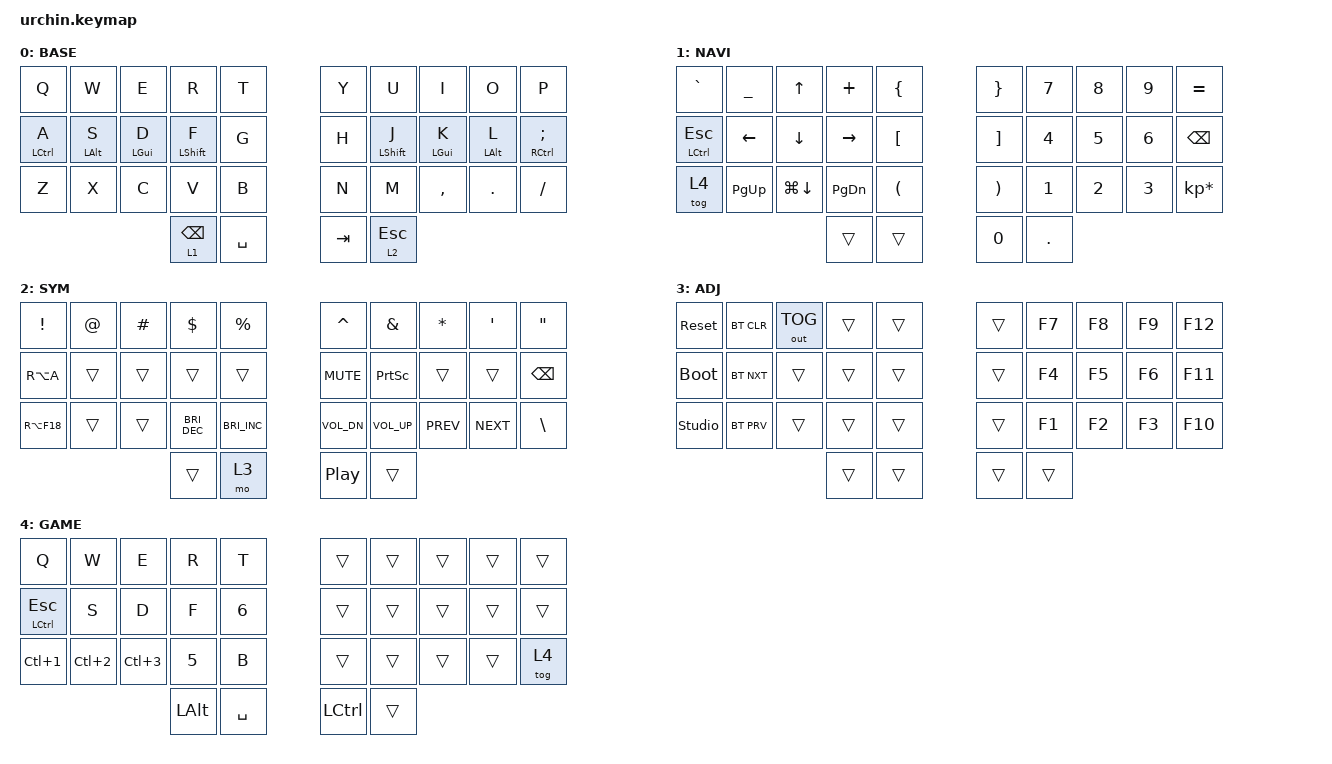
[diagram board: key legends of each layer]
/*
 * Ported from zmk-config-totem. TOTEM is 38 keys, Urchin is 34.
 * Dropped: the two outer bottom-row keys (ctrl/esc, ctrl/') and the outer
 * left/right thumb keys (bspc, del). Totem thumb order is
 * outer -> inner left: bspc, [nav] tilde, space | inner -> outer right:
 * tab, [sym] grave, delete, so the 4 surviving thumbs are
 * nav/tilde, space | sym/grave, tab.
 *
 * Deliberately left unmapped for now (totem had them on the dropped keys):
 * BSPC, DEL, ESC, SQT.
 */

#include <behaviors.dtsi>
#include <dt-bindings/zmk/bt.h>
#include <dt-bindings/zmk/keys.h>
#include <dt-bindings/zmk/outputs.h>

#define BASE   0
#define NAV    1
#define SYM    2
#define ADJ    3
#define GAMING 4

&mt {
    quick-tap-ms = <150>;
    global-quick-tap;
    flavor = "tap-preferred";
    tapping-term-ms = <170>;
};

&lt { quick-tap-ms = <175>; };

/ {
    combos {
        compatible = "zmk,combos";

        // totem used the extra bottom-right key (dropped); FSLH is its neighbour

        dash {
            bindings = <&kp MINUS>;
            key-positions = <19 18>;
            timeout-ms = <30>;
            require-prior-idle-ms = <80>;
        };

        enter_right_combo {
            bindings = <&kp ENTER>;
            key-positions = <16 18 17>;
            timeout-ms = <70>;
            require-prior-idle-ms = <100>;
        };

        double_quote {
            bindings = <&kp DOUBLE_QUOTES>;
            key-positions = <8 9>;
            timeout-ms = <30>;
            require-prior-idle-ms = <80>;
        };

        single_quote {
            bindings = <&kp SINGLE_QUOTE>;
            key-positions = <8 7>;
            require-prior-idle-ms = <80>;
            timeout-ms = <30>;
        };

        tilde {
            bindings = <&kp TILDE>;
            key-positions = <0 1>;
            layers = <0>;
            timeout-ms = <25>;
            require-prior-idle-ms = <80>;
        };

        tab {
            bindings = <&kp TAB>;
            key-positions = <20 11>;
            timeout-ms = <30>;
            require-prior-idle-ms = <80>;
            layers = <0 4>;
        };

        escape {
            bindings = <&kp ESC>;
            key-positions = <11 10>;
            timeout-ms = <30>;
            require-prior-idle-ms = <80>;
            layers = <0 4>;
        };

        copy {
            bindings = <&kp LG(C)>;
            key-positions = <21 22>;
            timeout-ms = <30>;
            require-prior-idle-ms = <80>;
            layers = <0>;
        };

        paste {
            bindings = <&kp LG(V)>;
            key-positions = <22 23>;
            timeout-ms = <30>;
            require-prior-idle-ms = <80>;
            layers = <0>;
        };

        at {
            bindings = <&kp AT_SIGN>;
            key-positions = <1 11>;
            timeout-ms = <30>;
            require-prior-idle-ms = <80>;
            layers = <0>;
        };

        hash {
            bindings = <&kp HASH>;
            key-positions = <2 12>;
            timeout-ms = <30>;
            require-prior-idle-ms = <80>;
            layers = <0>;
        };

        dollar {
            bindings = <&kp DLLR>;
            key-positions = <3 13>;
            timeout-ms = <30>;
            require-prior-idle-ms = <80>;
            layers = <0>;
        };

        percent {
            bindings = <&kp PRCNT>;
            key-positions = <4 14>;
            timeout-ms = <30>;
            require-prior-idle-ms = <80>;
            layers = <0>;
        };

        tilde_combo {
            bindings = <&kp TILDE>;
            key-positions = <24 14>;
            timeout-ms = <30>;
            require-prior-idle-ms = <80>;
            layers = <0>;
        };

        slash_combo {
            bindings = <&kp BACKSLASH>;
            key-positions = <12 22>;
            timeout-ms = <30>;
            require-prior-idle-ms = <80>;
            layers = <0>;
        };

        equal_combo {
            bindings = <&kp EQUAL>;
            key-positions = <13 23>;
            timeout-ms = <30>;
            require-prior-idle-ms = <80>;
            layers = <0>;
        };

        backtick_combo {
            bindings = <&kp GRAVE>;
            key-positions = <21 11>;
            timeout-ms = <30>;
            require-prior-idle-ms = <80>;
            layers = <0>;
        };
    };

    behaviors {
        mt_left: mt_left {
            compatible = "zmk,behavior-hold-tap";
            label = "MT_LEFT";
            bindings = <&kp>, <&kp>;

            #binding-cells = <2>;
            tapping-term-ms = <280>;
            quick-tap-ms = <175>;
            flavor = "balanced";
            hold-trigger-key-positions = <5 6 7 8 9 15 16 17 18 19 26 27 28 29 30 31 32 33>;
            require-prior-idle-ms = <110>;
            hold-trigger-on-release;
        };

        mt_right: mt_right {
            compatible = "zmk,behavior-hold-tap";
            label = "MT_RIGHT";
            bindings = <&kp>, <&kp>;

            #binding-cells = <2>;
            tapping-term-ms = <280>;
            quick-tap-ms = <175>;
            flavor = "balanced";
            require-prior-idle-ms = <110>;
            hold-trigger-on-release;
            hold-trigger-key-positions = <0 1 2 3 4 10 11 12 13 14 20 21 22 23 24 25 32 33 31 30>;
        };

        mt_shift_left: mt_shift_left {
            compatible = "zmk,behavior-hold-tap";
            label = "MT_SHIFT_LEFT";
            bindings = <&kp>, <&kp>;

            #binding-cells = <2>;
            tapping-term-ms = <280>;
            quick-tap-ms = <175>;
            flavor = "balanced";
            hold-trigger-key-positions = <5 6 7 8 9 15 16 17 18 19 26 27 28 29 30 31 32 33 25>;
            require-prior-idle-ms = <30>;
        };

        mt_shift_right: mt_shift_right {
            compatible = "zmk,behavior-hold-tap";
            label = "MT_SHIFT_RIGHT";
            bindings = <&kp>, <&kp>;

            #binding-cells = <2>;
            tapping-term-ms = <280>;
            quick-tap-ms = <175>;
            flavor = "balanced";
            hold-trigger-key-positions = <0 1 2 3 4 10 11 12 13 14 20 21 22 23 24 32 33 31 30>;
            require-prior-idle-ms = <30>;
        };
    };

    keymap {
        compatible = "zmk,keymap";

        base_layer {
            label = "BASE";
            bindings = <
&kp Q             &kp W                  &kp E            &kp R                    &kp T      &kp Y    &kp U                     &kp I             &kp O                   &kp P
&mt_left LCTRL A  &mt_shift_left LALT S  &mt_left LGUI D  &mt_shift_left LSHIFT F  &kp G      &kp H    &mt_shift_right LSHIFT J  &mt_right LGUI K  &mt_shift_right LALT L  &mt_right RCTRL SEMICOLON
&kp Z             &kp X                  &kp C            &kp V                    &kp B      &kp N    &kp M                     &kp COMMA         &kp DOT                 &kp FSLH
                                                          &lt 1 BACKSPACE          &kp SPACE  &kp TAB  &lt 2 ESC
            >;
        };

        nav_layer {
            label = "NAVI";
            bindings = <
&kp GRAVE      &kp UNDER       &kp UP          &kp PLUS         &kp LBRC  &kp RBRC  &kp N7        &kp N8  &kp N9        &kp EQUAL
&mt LCTRL ESC  &kp LEFT_ARROW  &kp DOWN_ARROW  &kp RIGHT_ARROW  &kp LBKT  &kp RBKT  &kp NUMBER_4  &kp N5  &kp NUMBER_6  &kp BACKSPACE
&tog 4         &kp PG_UP       &kp LG(DOWN)    &kp PG_DN        &kp LPAR  &kp RPAR  &kp NUMBER_1  &kp N2  &kp N3        &kp KP_MULTIPLY
                                               &trans           &trans    &kp N0    &kp PERIOD
            >;
        };

        sim_layer {
            label = "SYM";
            bindings = <
&kp EXCL     &kp AT  &kp HASH  &kp DLLR       &kp PRCNT             &kp CARET     &kp AMPS         &kp ASTERISK  &kp SQT     &kp DQT
&kp RA(A)    &trans  &trans    &trans         &trans                &kp C_MUTE    &kp PRINTSCREEN  &trans        &trans      &kp BACKSPACE
&kp RA(F18)  &trans  &trans    &kp C_BRI_DEC  &kp C_BRIGHTNESS_INC  &kp C_VOL_DN  &kp C_VOL_UP     &kp C_PREV    &kp C_NEXT  &kp BSLH
                               &trans         &mo 3                 &kp C_PP      &trans
            >;
        };

        adjust_layer {
            label = "ADJ";
            bindings = <
&sys_reset      &bt BT_CLR  &out OUT_TOG  &trans  &trans  &trans  &kp F7  &kp F8  &kp F9  &kp F12
&bootloader     &bt BT_NXT  &trans        &trans  &trans  &trans  &kp F4  &kp F5  &kp F6  &kp F11
&studio_unlock  &bt BT_PRV  &trans        &trans  &trans  &trans  &kp F1  &kp F2  &kp F3  &kp F10
                                          &trans  &trans  &trans  &trans
            >;
        };

        gaming {
            label = "GAME";
            bindings = <
&kp Q             &kp W             &kp E             &kp R     &kp T      &trans     &trans  &trans  &trans  &trans
&mt LCTRL ESC     &kp S             &kp D             &kp F     &kp N6     &trans     &trans  &trans  &trans  &trans
&kp LC(NUMBER_1)  &kp LC(NUMBER_2)  &kp LC(NUMBER_3)  &kp N5    &kp B      &trans     &trans  &trans  &trans  &tog 4
                                                      &kp LALT  &kp SPACE  &kp LCTRL  &trans
            >;
        };
    };
};
